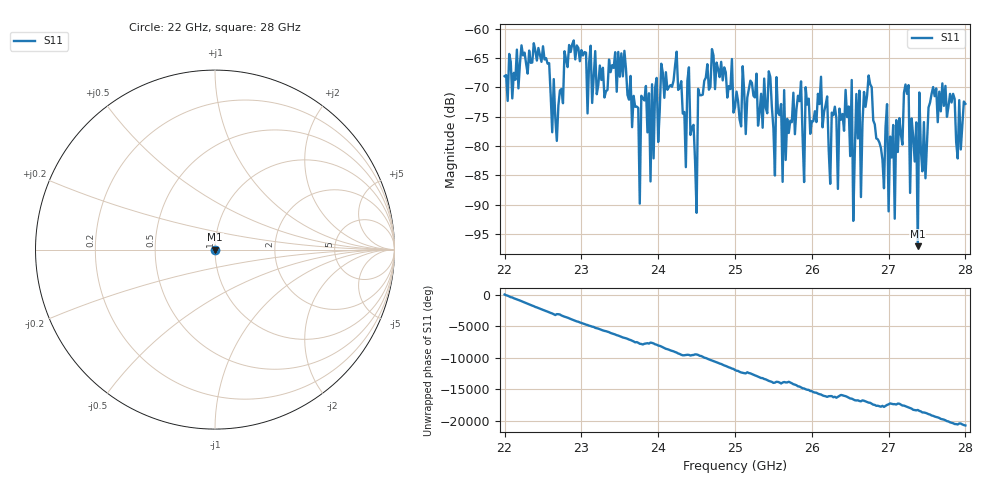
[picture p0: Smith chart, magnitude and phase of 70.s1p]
#  HZ  S  RI  R  50.00
! Rohde & Schwarz ZVA40 4Ports - Version 3.90 - 1145.1110k42 SN: 100403
! Date: 2023-10-04 09:00:36
! Measurement: S12
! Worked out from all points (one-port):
!   301 points, 22 GHz to 28 GHz, reference 50 ohm
!   lowest |S11| = -97.1 dB at 27.38 GHz (marker M1), VSWR 1.00, Z = 50 + j0.0011 ohm
!   |S11| at or under -10 dB: start of sweep to end of sweep
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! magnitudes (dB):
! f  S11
! 22 GHz  -68.1
! 22.76 GHz  -72.7
! 22.9 GHz  -62.0
! 23.06 GHz  -64.1
! 23.08 GHz  -74.4
! 23.12 GHz  -62.9
! 23.14 GHz  -72.7
! 23.5 GHz  -68.2
! 23.76 GHz  -89.8
! 24.26 GHz  -70.4
! 24.36 GHz  -83.6
! 24.4 GHz  -66.6
! 24.42 GHz  -78.1
! 24.5 GHz  -91.4
! 24.7 GHz  -63.5
! 25 GHz  -73.4
! 25.76 GHz  -70.9
! 26.44 GHz  -70.4
! 26.5 GHz  -81.7
! 26.52 GHz  -68.8
! 26.54 GHz  -92.8
! 26.74 GHz  -68.0
! 26.9 GHz  -80.3
! 27.26 GHz  -69.6
! 27.38 GHz  -97.1
! 27.4 GHz  -70.9
! 27.42 GHz  -80.6
! 28 GHz  -72.8
